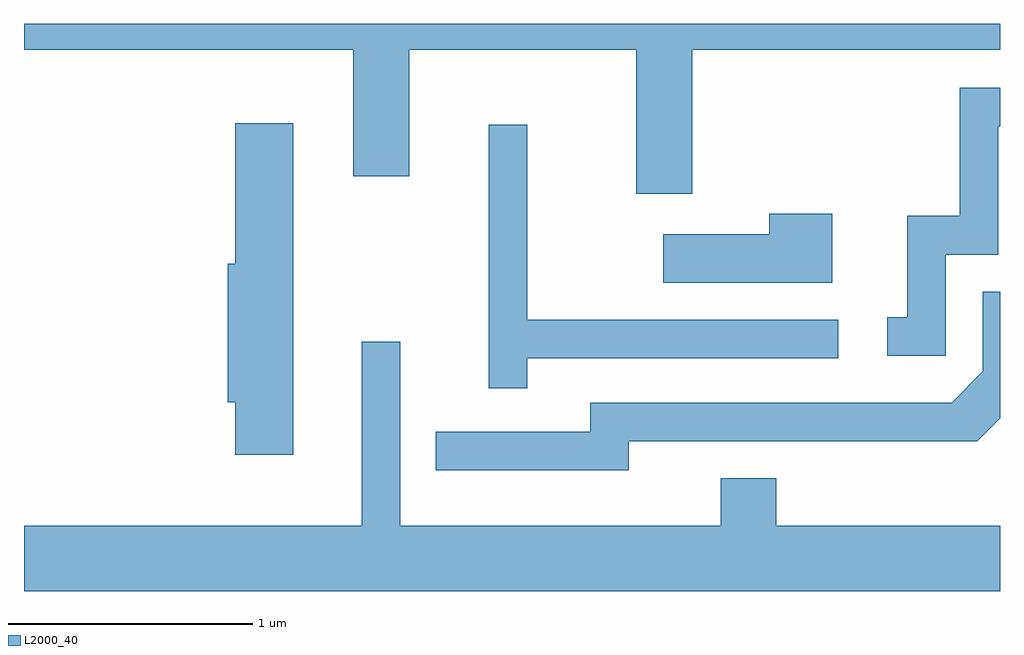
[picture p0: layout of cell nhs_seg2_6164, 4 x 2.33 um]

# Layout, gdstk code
import gdstk
lib = gdstk.Library(unit=1e-6, precision=1e-09)
def P(c, l, *ps):  # polygons
    for p in ps: c.add(gdstk.Polygon(p, *l))
L2000_40 = (2000, 40)

nhs_seg2_6164 = lib.new_cell('nhs_seg2_6164')
P(nhs_seg2_6164, L2000_40, [(370.349,1001.696),(371.611,1001.696),(371.611,1001.802),(367.611,1001.802),(367.611,1001.696),(368.961,1001.696),(368.961,1001.176),(369.189,1001.176),(369.189,1001.696),(370.121,1001.696),(370.121,1001.106),(370.349,1001.106)],
  [(371.389,1000.856),(371.604,1000.856),(371.604,1001.381),(371.611,1001.381),(371.611,1001.539),(371.446,1001.539),(371.446,1001.014),(371.231,1001.014),(371.231,1000.599),(371.148,1000.599),(371.148,1000.441),(371.389,1000.441)],
  [(368.714,1001.394),(368.476,1001.394),(368.476,1000.819),(368.446,1000.819),(368.446,1000.251),(368.476,1000.251),(368.476,1000.036),(368.714,1000.036)],
  [(369.674,1000.431),(370.948,1000.431),(370.948,1000.589),(369.674,1000.589),(369.674,1001.388),(369.516,1001.388),(369.516,1000.308),(369.674,1000.308)],
  [(370.924,1001.024),(370.666,1001.024),(370.666,1000.939),(370.231,1000.939),(370.231,1000.741),(370.924,1000.741)],
  [(370.089,1000.091),(371.517,1000.091),(371.611,1000.186),(371.611,1000.704),(371.541,1000.704),(371.541,1000.377),(371.414,1000.249),(369.931,1000.249),(369.931,1000.129),(369.298,1000.129),(369.298,999.971),(370.089,999.971)],
  [(371.611,999.744),(370.694,999.744),(370.694,999.939),(370.466,999.939),(370.466,999.744),(369.154,999.744),(369.154,1000.498),(368.996,1000.498),(368.996,999.744),(367.611,999.744),(367.611,999.476),(371.611,999.476)])

lib.write_gds('nhs_seg2_6164.gds')
